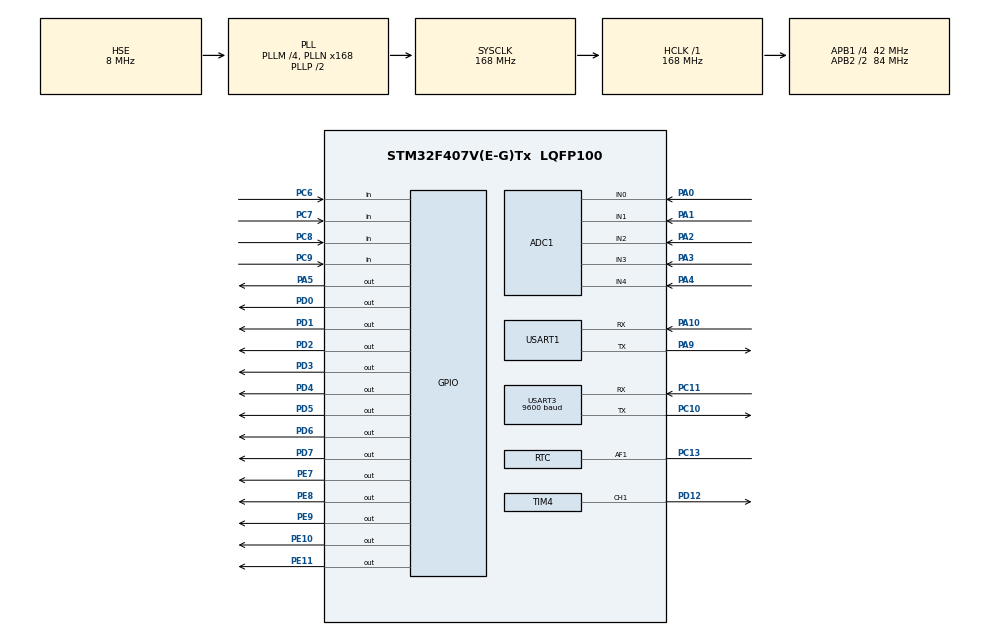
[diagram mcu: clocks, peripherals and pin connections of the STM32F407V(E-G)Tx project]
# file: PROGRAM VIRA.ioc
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ADC1.Channel-0\#ChannelRegularConversion=ADC_CHANNEL_0
ADC1.Channel-1\#ChannelRegularConversion=ADC_CHANNEL_1
ADC1.Channel-2\#ChannelRegularConversion=ADC_CHANNEL_2
ADC1.Channel-3\#ChannelRegularConversion=ADC_CHANNEL_3
ADC1.Channel-4\#ChannelRegularConversion=ADC_CHANNEL_4
ADC1.ContinuousConvMode=ENABLE
ADC1.DMAContinuousRequests=ENABLE
ADC1.NbrOfConversion=5
ADC1.NbrOfConversionFlag=1
ADC1.Rank-0\#ChannelRegularConversion=1
ADC1.Rank-1\#ChannelRegularConversion=2
ADC1.Rank-2\#ChannelRegularConversion=3
ADC1.Rank-3\#ChannelRegularConversion=4
ADC1.Rank-4\#ChannelRegularConversion=5
ADC1.SamplingTime-0\#ChannelRegularConversion=ADC_SAMPLETIME_3CYCLES
ADC1.SamplingTime-1\#ChannelRegularConversion=ADC_SAMPLETIME_3CYCLES
ADC1.SamplingTime-2\#ChannelRegularConversion=ADC_SAMPLETIME_3CYCLES
ADC1.SamplingTime-3\#ChannelRegularConversion=ADC_SAMPLETIME_3CYCLES
ADC1.SamplingTime-4\#ChannelRegularConversion=ADC_SAMPLETIME_3CYCLES
ADC1.ScanConvMode=ENABLE
ADC1.master=1
Dma.ADC1.0.Direction=DMA_PERIPH_TO_MEMORY
Dma.ADC1.0.FIFOMode=DMA_FIFOMODE_ENABLE
Dma.ADC1.0.FIFOThreshold=DMA_FIFO_THRESHOLD_HALFFULL
Dma.ADC1.0.Instance=DMA2_Stream0
Dma.ADC1.0.MemBurst=DMA_MBURST_SINGLE
Dma.ADC1.0.MemDataAlignment=DMA_MDATAALIGN_HALFWORD
Dma.ADC1.0.MemInc=DMA_MINC_ENABLE
Dma.ADC1.0.Mode=DMA_CIRCULAR
Dma.ADC1.0.PeriphBurst=DMA_PBURST_SINGLE
Dma.ADC1.0.PeriphDataAlignment=DMA_PDATAALIGN_HALFWORD
Dma.ADC1.0.PeriphInc=DMA_PINC_DISABLE
Dma.ADC1.0.Priority=DMA_PRIORITY_LOW
Dma.Request0=ADC1
Mcu.Family=STM32F4
Mcu.Name=STM32F407V(E-G)Tx
Mcu.Package=LQFP100
NVIC.DMA2_Stream0_IRQn=true\:0\:0\:false\:false\:true\:true\:true
NVIC.PriorityGroup=NVIC_PRIORITYGROUP_4
NVIC.TIM1_BRK_TIM9_IRQn=true\:0\:0\:false\:false\:true\:true\:true
NVIC.TIM8_TRG_COM_TIM14_IRQn=true\:0\:0\:false\:false\:true\:true\:true
NVIC.TIM8_UP_TIM13_IRQn=true\:0\:0\:false\:false\:true\:true\:true
NVIC.USART3_IRQn=true\:0\:0\:false\:false\:true\:true\:true
PA0-WKUP.Signal=ADCx_IN0
PA1.Signal=ADCx_IN1
PA10.Mode=Asynchronous
PA10.Signal=USART1_RX
PA2.Signal=ADCx_IN2
PA3.Signal=ADCx_IN3
PA4.Signal=ADCx_IN4
PA5.Signal=GPIO_Output
PA9.GPIO_Speed=GPIO_SPEED_FREQ_HIGH
PA9.Mode=Asynchronous
PA9.Signal=USART1_TX
PC10.GPIO_Speed=GPIO_SPEED_FREQ_HIGH
PC10.Mode=Asynchronous
PC10.Signal=USART3_TX
PC11.GPIO_Speed=GPIO_SPEED_FREQ_HIGH
PC11.Mode=Asynchronous
PC11.Signal=USART3_RX
PC13-ANTI_TAMP.Mode=Calibration_1Hz
PC13-ANTI_TAMP.Signal=RTC_AF1
PC6.Signal=GPIO_Input
PC7.Signal=GPIO_Input
PC8.Signal=GPIO_Input
PC9.Signal=GPIO_Input
PD0.Signal=GPIO_Output
PD1.Signal=GPIO_Output
PD12.GPIO_Speed=GPIO_SPEED_FREQ_VERY_HIGH
PD12.Signal=S_TIM4_CH1
PD2.Signal=GPIO_Output
PD3.Signal=GPIO_Output
PD4.Signal=GPIO_Output
PD5.Signal=GPIO_Output
PD6.Signal=GPIO_Output
PD7.Signal=GPIO_Output
PE10.Signal=GPIO_Output
PE11.Signal=GPIO_Output
PE7.Signal=GPIO_Output
PE8.Signal=GPIO_Output
PE9.Signal=GPIO_Output
PH0-OSC_IN.Mode=HSE-External-Oscillator
PH0-OSC_IN.Signal=RCC_OSC_IN
PH1-OSC_OUT.Mode=HSE-External-Oscillator
PH1-OSC_OUT.Signal=RCC_OSC_OUT
ProjectManager.HeapSize=0x200
ProjectManager.StackSize=0x400
ProjectManager.TargetToolchain=MDK-ARM V5
RCC.48MHZClocksFreq_Value=84000000
RCC.AHBFreq_Value=168000000
RCC.APB1CLKDivider=RCC_HCLK_DIV4
RCC.APB1Freq_Value=42000000
RCC.APB1TimFreq_Value=84000000
RCC.APB2CLKDivider=RCC_HCLK_DIV2
RCC.APB2Freq_Value=84000000
RCC.APB2TimFreq_Value=168000000
RCC.CortexFreq_Value=168000000
RCC.HCLKFreq_Value=168000000
RCC.HSE_VALUE=8000000
RCC.HSI_VALUE=16000000
RCC.LSE_VALUE=32768
RCC.PLLM=4
RCC.PLLN=168
RCC.PLLSourceVirtual=RCC_PLLSOURCE_HSE
RCC.SYSCLKFreq_VALUE=168000000
RCC.SYSCLKSource=RCC_SYSCLKSOURCE_PLLCLK
RCC.VCOOutputFreq_Value=336000000
SH.ADCx_IN0.0=ADC1_IN0,IN0
SH.ADCx_IN1.0=ADC1_IN1,IN1
SH.ADCx_IN2.0=ADC1_IN2,IN2
SH.ADCx_IN3.0=ADC1_IN3,IN3
SH.ADCx_IN4.0=ADC1_IN4,IN4
SH.S_TIM4_CH1.0=TIM4_CH1,PWM Generation1 CH1
TIM13.Channel=TIM_CHANNEL_1
TIM13.Period=2099
TIM14.Channel=TIM_CHANNEL_1
TIM14.Period=16801
TIM4.Channel-PWM\ Generation1\ CH1=TIM_CHANNEL_1
TIM4.Period=2099
TIM4.Prescaler=0
TIM4.Pulse-PWM\ Generation1\ CH1=5000
TIM9.Period=16799
TIM9.Prescaler=4999
USART1.VirtualMode=VM_ASYNC
USART3.BaudRate=9600
USART3.VirtualMode=VM_ASYNC
USART3.WordLength=WORDLENGTH_8B
VP_RTC_VS_RTC_Activate.Mode=RTC_Enabled
VP_TIM13_VS_ClockSourceINT.Mode=Enable_Timer
VP_TIM13_VS_no_output1.Mode=PWM Generation1 No Output
VP_TIM14_VS_ClockSourceINT.Mode=Enable_Timer
VP_TIM14_VS_no_output1.Mode=PWM Generation1 No Output
VP_TIM9_VS_ClockSourceINT.Mode=Internal
board=TUGAS AKHIR MOHAMMAD AGUNG DIRMAWAN

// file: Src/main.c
/* USER CODE BEGIN Header */
/**
  ******************************************************************************
  * @file           : main.c
  * @brief          : Main program body
  ******************************************************************************
  * @attention
  *
  * <h2><center>&copy; Copyright (c) 2020 STMicroelectronics.
  * All rights reserved.</center></h2>
  *
  * This software component is licensed by ST under BSD 3-Clause license,
  * the "License"; You may not use this file except in compliance with the
  * License. You may obtain a copy of the License at:
  *                        opensource.org/licenses/BSD-3-Clause
  *
  ******************************************************************************
  */
/* USER CODE END Header */
#include "main.h"

/* USER CODE BEGIN Includes */
#include "string.h"   																													// 1 logger via bluetooth (cek 1-7)
#include "lcd_character.h"
#include "math.h"
#include "stdlib.h"
#include "stdio.h"
#define SampleData 1000
/* USER CODE END Includes */

ADC_HandleTypeDef hadc1;
DMA_HandleTypeDef hdma_adc1;

RTC_HandleTypeDef hrtc;

TIM_HandleTypeDef htim4;
TIM_HandleTypeDef htim9;
TIM_HandleTypeDef htim13;
TIM_HandleTypeDef htim14;

UART_HandleTypeDef huart1;
UART_HandleTypeDef huart3;

/* USER CODE BEGIN PV */

 /*Inisialisasi jumlah ADC*/
__IO uint16_t ADC_value[5];

/*Inisialisasi PWM*/
float pwm =2099,pwm1; //735;945;1155duty trying before 50%duty 1050 (max psc 2099) how? psc x duty%
//float pwm =1155,pwm1; //945 1155
float D;
char bufferD[200];
char buffer_defuzzy[200];

// int tes=10;
float A0, Esq0[SampleData], Esum0, Eadc0;
float A1, Vsq1[SampleData], Vsum1, Vadc1;
float A2, Isq2[SampleData], Isum2, Iadc2;
float A3, Vsq3[SampleData], Vsum3, Vadc3;
float A4, Isq4[SampleData], Isum4, Iadc4;
float E0, V1, I2, V3, I4, Epv, Vin, Iin, Vout, Iout, Pin, Pout, Vi, Ii, Vo, Io;

int 	k=0, Z=0,i=0;
int		recordE0, recordV1, recordI2, recordV3, recordI4;
char	buffer_ADC_E0[200];
char  buffer_ADC_V1[200];
char  buffer_ADC_I2[200];
char  buffer_ADC_V3[200];
char  buffer_ADC_I4[200];
char	buffer_Epv[200];
char  buffer_Vin[200];
char  buffer_Iin[200];
char  buffer_Vout[200];
char  buffer_Iout[200];
char  buffer_Pin[200];
char  buffer_Pout[200];

//Deklarasi MPPT Fuzzy 2//
float eNBU,eNKU,eZU,ePKU,ePBU ; //Deklarasi nilai error UPPER fuzzy
float eNBL,eNKL,eZL,ePKL,ePBL ; //Deklarasi nilai error LOWER fuzzy
float dNBU,dNKU,dZU,dPKU,dPBU; // Deklarasi nilai delta error UPPER fuzzy
float dNBL,dNKL,dZL,dPKL,dPBL; // Deklarasi nilai delta error LOWER fuzzy
float oNB = (-0.005), oNK = (-0.0025) , oZ = (0) , oPK = (0.0025) , oPB = (0.005); //fuzzyfikasi output fuzzy sugeno
float a=-200, b=-100, c=0, d=100, e=200;
float f=-200, g=-100, hh=0, ii=100, j=200;
float rule1U, rule2U, rule3U,rule4U, rule1L, rule2L, rule3L,rule4L;
float red1U, red2U, red1L, red2L;
float redtipe1, redtipe2;
float r1U,r2U,r3U,r4U,r5U,r6U,r7U,r8U,r9U,r10U,r11U,r12U,r13U,r14U,r15U, r16U, r17U, r18U, r19U, r20U, r21U, r22U, r23U, r24U, r25U; //Inferensi
float r1L,r2L,r3L,r4L,r5L,r6L,r7L,r8L,r9L,r10L,r11L,r12L,r13L,r14L,r15L, r16L, r17L, r18L, r19L, r20L, r21L, r22L, r23L, r24L, r25L;
float r1,r2,r3,r4,r5,r6,r7,r8,r9,r10,r11,r12,r13,r14,r15, r16, r17, r18, r19, r20, r21, r22, r23, r24, r25;
float esblm=0, defuzzy, e, d;
float vin, iin, vin2, iin2, vout, iout, step, Duty, vv, ii, pp, vs, is, ps, pv, pout,sp;
int t=0, s=2;
double error, derror;
float hasil, dppp, dvvv;
static int status=0,MPP;

/* USER CODE END PV */

void SystemClock_Config(void);
static void MX_GPIO_Init(void);
static void MX_DMA_Init(void);
static void MX_ADC1_Init(void);
static void MX_TIM4_Init(void);
static void MX_TIM9_Init(void);
static void MX_TIM13_Init(void);
static void MX_TIM14_Init(void);
static void MX_USART3_UART_Init(void);
static void MX_RTC_Init(void);
static void MX_USART1_UART_Init(void);
/* USER CODE BEGIN PFP */

//SENSOR//
void HAL_TIM_PeriodElapsedCallback(TIM_HandleTypeDef *htim)
{

	if (htim->Instance==TIM14)
	   {
				HAL_ADC_Start_DMA(&hadc1, (uint32_t*) &ADC_value,5);
			  //Sensor Tegangan Input
				Vadc1= ADC_value[4];
				Vsum1-=Vsq1[k];
				Vsq1[k]=Vadc1;
				Vsum1+=Vsq1[k];
				A1=Vsum1/SampleData;
//				V1=A1/4095*5;                                         	 /*Rumus untuk mendapatkan Vadc*/
				Vin = (0.0042*A1) - 0.21;

			 //Sensor Tegangan Output//
				Vadc3= ADC_value[0];
				Vsum3-=Vsq3[k];
				Vsq3[k]=Vadc3;
				Vsum3+=Vsq3[k];
				A3=Vsum3/SampleData;
//			V3=A3/4095*5;                                         		 /*Rumus untuk mendapatkan Vadc*/
				Vout = (0.0036*A3) - 0.1692;

				//Sensor Arus Input
				Iadc4= ADC_value[2];
				Isum4-=Isq4[k];
				Isq4[k]=Iadc4;
				Isum4+=Isq4[k];
				A4=Isum4/SampleData;
//				I4=A4/4095*5;																			    /*Rumus untuk mendapatkan Iadc*/
				Iin = (0.0125*A4) - 25.39;

			 	//Sensor Arus Output
				Iadc2= ADC_value[3];
				Isum2-=Isq2[k];
				Isq2[k]=Iadc2;
				Isum2+=Isq2[k];
				A2=Isum2/SampleData;
//			I1=A2/4095*5;																			    /*Rumus untuk mendapatkan Iadc*/
				Iout = (0.0152*A2 - 30.6);													  /*Rumus untuk mendapatkan Iout*/

			//Menghitung Nilai Daya
//				Pin = Vin*Iin;					/*Rumus Daya Input*/
//				Pout = Vout*Iout;				/*Rumus Daya Output*/

				k++;
				if(k>=SampleData)
				k=0;

				//SENSOR TEGANGAN INPUT ==> Mikro ADC_Value[4] PIN PA4 PCB ADC0
				//SENSOR ARUS INPUT ==> Mikro ADC_Value[2] PIN PA2 PCB ADC2
				//SENSOR TEGANGAN OUTPUT ==> Mikro ADC_Value[0] PIN PA4 PCB ADC0
				//SENSOR ARUS OUTPUT ==> Mikro ADC_Value[3] PIN PA2 PCB ADC2

	  }

			//------------------MPPT FLC TYPE 2 BY SHAVIRA AISYAH------------------//

	if (htim->Instance==TIM9)
	{
		status = ~status;
		MPP = status;
		if(MPP == 0) // saat ini
		{
			is = Iin;
			vs = Vin;
			ps = is * vs;
		}
		else if(MPP == -1) //sebelumnya
		{
			ii = Iin;
			vv = Vin;
			pp = ii * vv;
		}

		dppp = ps - pp;
		dvvv = vs - vv;
		pout = Vout * Iout;

		ps = pp;
		vs=vv;

		error = dppp/dvvv;
		derror = error - esblm;
		esblm = error;

					//------------------FUZZIFIKASI ERROR------------------//
	if(ps<200)
	{
		if (error<=a)
	{
		eNBU=1;
		eNKU=eZU=ePKU=ePBU=0;
	}
	else if (error>=a && error<=b)
	{
		eNBU=(b-error)/(b-a);
		eNKU=(error-a)/(b-a);
		eZU=ePKU=ePBU=0;
	}
	else if (error>=b && error<=c)
	{
		eNKU=(c-error)/(c-b);
		eZU=(error-b)/(c-b);
		eNBU=ePKU=ePBU=0;
	}
	else if (error>=c && error<=d)
	{
		eZU=(d-error)/(d-c);
		ePKU=(error-c)/(d-c);
		eNBU=eNKU=ePBU=0;
	}
	else if (error>=d && error<=e)
	{
		ePKU=(e-error)/(e-d);
		ePBU=(error-d)/(e-d);
		eNBU=eNKU=eZU=0;
	}
		else if (error>=e)
	{
		ePBU=1;
		eNBU=eNKU=eZU=ePKU=0;
	}

						//------------------FUZZIFIKASI DELTA ERROR------------------//
	if (derror<=f)
	{
		dNBU=1;
		dNKU=dZU=dPKU=dPBU=0;
	}
	else if (derror>=f && derror<=g)
	{
		dNBU=(g-derror)/(g-f);
		dNKU=(derror-f)/(g-f);
		dZU=dPKU=dPBU=0;
	}
	else if (derror>=g && derror<=hh)
	{
		dNKU=(hh-derror)/(hh-g);
		dZU=(derror-g)/(hh-g);
		dPKU=dNBU=dPBU=0;
	}
	else if (derror>=hh && derror<=i)
	{
		dZU=(ii-derror)/(ii-hh);
		dPKU=(derror-hh)/(ii-hh);
		dNBU=dNKU=dPBU=0;
	}
	else if (derror>=i && derror<=j)
	{
		dPKU=(j-derror)/(j-ii);
		dPBU=(derror-ii)/(j-ii);
		dNBU=dNKU=dZU=0;
	}
	else if (derror>=j)
	{
		dPBU=1;
		dPKU=dZU=dNKU=dNBU=0;
	}

					//------------------FUZZIFIKASI ERROR------------------//
	if(ps<200)
	{
		if (error<=a)
	{
		eNBU=1;
		eNKU=eZU=ePKU=ePBU=0;
	}
	else if (error>=a && error<=b)
	{
		eNBU=(b-error)/(b-a);
		eNKU=(error-a)/(b-a);
		eZU=ePKU=ePBU=0;
	}
	else if (error>=b && error<=c)
	{
		eNKU=(c-error)/(c-b);
		eZU=(error-b)/(c-b);
		eNBU=ePKU=ePBU=0;
	}
	else if (error>=c && error<=d)
	{
		eZU=(d-error)/(d-c);
		ePKU=(error-c)/(d-c);
		eNBU=eNKU=ePBU=0;
	}
	else if (error>=d && error<=e)
	{
		ePKU=(e-error)/(e-d);
		ePBU=(error-d)/(e-d);
		eNBU=eNKU=eZU=0;
	}
		else if (error>=e)
	{
		ePBU=1;
		eNBU=eNKU=eZU=ePKU=0;
	}
		if (error<=a)
	{
		eNBL=1;
		eNKL=eZL=ePKL=ePBL=0;
	}
	else if (error>=a && error<=b)
	{
		eNBL=(b-error)/(b-a);
		eNKL=(error-a)/(b-a);
		eZL=ePKL=ePBL=0;
	}
	else if (error>=b && error<=c)
	{
		eNKL=(c-error)/(c-b);
		eZL=(error-b)/(c-b);
		eNBL=ePKL=ePBL=0;
	}
	else if (error>=c && error<=d)
	{
		eZL=(d-error)/(d-c);
		ePKL=(error-c)/(d-c);
		eNBL=eNKL=ePBL=0;
	}
	else if (error>=d && error<=e)
	{
		ePKL=(e-error)/(e-d);
		ePBL=(error-d)/(e-d);
		eNBL=eNKL=eZL=0;
	}
		else if (error>=e)
	{
		ePBL=1;
		eNBL=eNKL=eZL=ePKL=0;
	}

						//------------------FUZZIFIKASI DELTA ERROR------------------//
	if (derror<=f)
	{
		dNBL=1;
		dNKL=dZL=dPKL=dPBL=0;
	}
	else if (derror>=f && derror<=g)
	{
		dNBL=(g-derror)/(g-f);
		dNKL=(derror-f)/(g-f);
		dZL=dPKL=dPBL=0;
	}
	else if (derror>=g && derror<=hh)
	{
		dNKL=(hh-derror)/(hh-g);
		dZL=(derror-g)/(hh-g);
		dPKL=dNBL=dPBL=0;
	}
	else if (derror>=hh && derror<=i)
	{
		dZL=(ii-derror)/(ii-hh);
		dPKL=(derror-hh)/(ii-hh);
		dNBL=dNKL=dPBL=0;
	}
	else if (derror>=i && derror<=j)
	{
		dPKL=(j-derror)/(j-ii);
		dPBL=(derror-ii)/(j-ii);
		dNBL=dNKL=dZL=0;
	}
	else if (derror>=j)
	{
		dPBL=1;
		dPKL=dZL=dNKL=dNBL=0;
	}
	if (derror<=f)
	{
		dNBL=1;
		dNKL=dZL=dPKL=dPBL=0;
	}
	else if (derror>=f && derror<=g)
	{
		dNBL=(g-derror)/(g-f);
		dNKL=(derror-f)/(g-f);
		dZL=dPKL=dPBL=0;
	}
	else if (derror>=g && derror<=hh)
	{
		dNKL=(hh-derror)/(hh-g);
		dZL=(derror-g)/(hh-g);
		dPKL=dNBL=dPBL=0;
	}
	else if (derror>=hh && derror<=i)
	{
		dZL=(ii-derror)/(ii-hh);
		dPKL=(derror-hh)/(ii-hh);
		dNBL=dNKL=dPBL=0;
	}
	else if (derror>=i && derror<=j)
	{
		dPKL=(j-derror)/(j-ii);
		dPBL=(derror-ii)/(j-ii);
		dNBL=dNKL=dZL=0;
	}
	else if (derror>=j)
	{
		dPBL=1;
		dPKL=dZL=dNKL=dNBL=0;
	}

				//------------------FUZZY INFERENCE------------------//

		//UPPER//
r1U=dPBU;	if (eNBU>dPBU)r1U=eNBU;
r2U=dNBU;	if (eNKU>dPBU)r2U=eNKU;
r3U=dPBU;	if (eZU>dPBU)r3U=eZU;
r4U=dPBU;	if (ePKU>dPBU)r4U=ePKU;
r5U=dPBU;	if (ePBU>dPBU)r5U=ePBU;

r6U=dPKU;	if (eNBU>dPKU)r6U=eNBU;
r7U=dPKU;	if (eNKU>dPKU)r7U=eNKU;
r8U=dPKU;	if (eZU>dPKU)r8U=eZU;
r9U=dPKU;	if (ePKU>dPKU)r9U=ePKU;
r10U=dPKU; if (ePBU>dPKU)r10U=ePBU;

r11U=dZU;	if (eNBU>dZU)r11U=eNBU;
r12U=dZU;	if (eNKU>dZU)r12U=eNKU;
r13U=dZU;	if (eZU>dZU)r13U=eZU;
r14U=dZU;	if (ePKU>dZU)r14U=ePKU;
r15U=dZU;	if (ePBU>dZU)r15U=ePBU;

r16U=dNKU;	if (eNBU>dNKU)r16U=eNBU;
r17U=dNKU;	if (eNKU>dNKU)r17U=eNKU;
r18U=dNKU;	if (eZU>dNKU)r18U=eZU;
r19U=dNKU;	if (ePKU>dNKU)r19U=ePKU;
r20U=dNKU;	if (ePBU>dNKU)r20U=ePBU;

r21U=dNBU;	if (eNBU>dNBU)r21U=eNBU;
r22U=dNBU;	if (eNKU>dNBU)r22U=eNKU;
r23U=dNBU;	if (eZU>dNBU)r23U=eZU;
r24U=dNBU;	if (ePKU>dNBU)r24U=ePKU;
r25U=dNBU;	if (ePBU>dNBU)r25U=ePBU;

	//LOWER//
r1L=dPBL;	if (eNBL>dPBL)r1L=eNBL;
r2L=dNBL;	if (eNKL>dPBL)r2L=eNKL;
r3L=dPBL;	if (eZL>dPBL)r3L=eZL;
r4L=dPBL;	if (ePKL>dPBL)r4L=ePKL;
r5L=dPBL;	if (ePBL>dPBL)r5L=ePBL;

r6L=dPKL;	if (eNBL>dPKL)r6L=eNBL;
r7L=dPKL;	if (eNKL>dPKL)r7L=eNKL;
r8L=dPKL;	if (eZL>dPKL)r8L=eZL;
r9L=dPKL;	if (ePKL>dPKL)r9L=ePKL;
r10L=dPKL; if (ePBL>dPKL)r10L=ePBL;

r11L=dZL;	if (eNBL>dZL)r11L=eNBL;
r12L=dZL;	if (eNKL>dZL)r12L=eNKL;
r13L=dZL;	if (eZL>dZL)r13L=eZL;
r14L=dZL;	if (ePKL>dZL)r14L=ePKL;
r15L=dZL;	if (ePBL>dZL)r15L=ePBL;

r16L=dNKL;	if (eNBL>dNKL)r16L=eNBL;
r17L=dNKL;	if (eNKL>dNKL)r17L=eNKL;
r18L=dNKL;	if (eZL>dNKL)r18L=eZL;
r19L=dNKL;	if (ePKL>dNKL)r19L=ePKL;
r20L=dNKL;	if (ePBL>dNKL)r20L=ePBL;

r21L=dNBL;	if (eNBL>dNBL)r21L=eNBL;
r22L=dNBL;	if (eNKL>dNBL)r22L=eNKL;
r23L=dNBL;	if (eZL>dNBL)r23L=eZL;
r24L=dNBL;	if (ePKL>dNBL)r24L=ePKL;
r25L=dNBL;	if (ePBL>dNBL)r25L=ePBL;

//------------------TIPE PEREDUKSI------------------//
r1 = (r1U + r1L)/2;
r2 = (r2U + r2L)/2;
r3 = (r3U + r3L)/2;
r4 = (r4U + r4L)/2;
r5 = (r5U + r5L)/2;
r6 = (r6U + r6L)/2;
r7 = (r7U + r7L)/2;
r8 = (r8U + r8L)/2;
r9 = (r9U + r9L)/2;
r10 = (r10U + r10L)/2;
r11 = (r11U + r11L)/2;
r12 = (r12U + r12L)/2;
r13 = (r13U + r13L)/2;
r14 = (r14U + r14L)/2;
r15 = (r15U + r15L)/2;
r16 = (r16U + r16L)/2;
r17 = (r17U + r17L)/2;
r18 = (r18U + r18L)/2;
r19 = (r19U + r19L)/2;
r20 = (r20U + r20L)/2;
r21 = (r21U + r21L)/2;
r22 = (r22U + r22L)/2;
r23 = (r23U + r23L)/2;
r24 = (r24U + r24L)/2;
r25 = (r25U + r25L)/2;

			//------------------DEFUZZYFIKASI------------------//
hasil=((r1*oPB)+(r2*oPK)+(r3*oNK)+(r4*oZ)+(r5*oZ)+(r6*oPB)+(r7*oPK)+(r8*oZ)+(r9*oZ)+(r10*oZ)+(r11*oPB)+(r12*oPK)+(r13*oZ)+(r14*oNK)+(r15*oNK)+(r16*oZ)+(r17*oZ)+(r18*oZ)+(r19*oNK)+(r20*oNK)+(r21*oZ)+(r22*oZ)+(r23*oPK)+(r24*oNK)+(r25*oNB))/(r1+r2+r3+r4+r5+r6+r7+r8+r9+r10+r11+r12+r13+r14+r15+r16+r17+r18+r19+r20+r21+r22+r23+r24+r25);

	if(dppp == 0)
	{
		hasil = hasil;
	}

defuzzy = defuzzy + hasil;

hasil=((r1*oZ)+(r2*oZ)+(r3*oZ)+(r4*oZ)+(r5*oZ)+(r6*oZ)+(r7*oZ)+(r8*oZ)+(r9*oZ)+(r10*oZ)+(r11*oZ)+(r12*oZ)+(r13*oZ)+(r14*oZ)+(r15*oZ)+(r16*oZ)+(r17*oZ)+(r18*oZ)+(r19*oZ)+(r20*oZ)+(r21*oZ)+(r22*oZ)+(r23*oZ)+(r24*oZ)+(r25*oZ))/(r1+r2+r3+r4+r5+r6+r7+r8+r9+r10+r11+r12+r13+r14+r15+r16+r17+r18+r19+r20+r21+r22+r23+r24+r25);
defuzzy = defuzzy + hasil;

pwm = 945 + (defuzzy); //945
D = pwm *100/2100;
TIM4->CCR1 = pwm;

		pp = ps;
		vv = vs;

}

		if (D>60)
		{
		D=60;
		}
		if (D<0)
		{
		D=0;
		}

	}
	}

	}
/* USER CODE END PFP */

/* USER CODE BEGIN 0 */
__IO uint16_t Nilai_ADC[5];
float pwm1;
/* USER CODE END 0 */

int main(void)
{

  /* MCU Configuration--------------------------------------------------------*/

  /* Reset of all peripherals, Initializes the Flash interface and the Systick. */
  HAL_Init();

  /* Configure the system clock */
  SystemClock_Config();

  /* Initialize all configured peripherals */
  MX_GPIO_Init();
  MX_DMA_Init();
  MX_ADC1_Init();
  MX_TIM4_Init();
  MX_TIM9_Init();
  MX_TIM13_Init();
  MX_TIM14_Init();
  MX_USART3_UART_Init();
  MX_RTC_Init();
  MX_USART1_UART_Init();
  /* USER CODE BEGIN 2 */
  HAL_ADC_Start_DMA(&hadc1, (uint32_t*) &ADC_value,5);
	HAL_TIM_Base_Start_IT(&htim14); 																									// interrupt ADC
	HAL_TIM_Base_Start_IT(&htim13);  																									// interrupt PWM
	HAL_TIM_Base_Start_IT(&htim9);
	HAL_TIM_PWM_Start(&htim4,TIM_CHANNEL_1);

//TAMPILAN AWAL//
	TIM4->CCR1 = 0;
	lcd_init();

	lcd_gotoxy(0,0);
	lcd_puts("    MPPT - FUZZY2   ");
	lcd_gotoxy(1,1);
	lcd_puts(" SHAVIRA AISYAH ");
	lcd_gotoxy(5,2);
	lcd_puts("2320640021");
	HAL_Delay(3000);
	lcd_clear();

//	lcd_gotoxy(0,2);
//	lcd_puts ("adcV:     ");

//	lcd_gotoxy(10,2);
//	lcd_puts ("adcI:");

	lcd_gotoxy(0,1);
	lcd_puts ("Vin:    ");

	lcd_gotoxy(0,2);
	lcd_puts ("Vo :    ");

	lcd_gotoxy(10,1);
	lcd_puts ("Iin:     ");

	lcd_gotoxy(10,2);
	lcd_puts ("Io :     ");

	lcd_gotoxy(0,0);
	lcd_puts ("PWM :     ");

	lcd_gotoxy(0,3);
	lcd_puts ("Pin:     ");

	lcd_gotoxy(10,3);
	lcd_puts ("Po :     ");

  /* USER CODE END 2 */

  /* Infinite loop */
  while (1)
  {

    /* USER CODE BEGIN 3 */
			HAL_Delay(100);

		//Menampilkan PWM //
//	TIM4->CCR1 = pwm;
//	D = pwm/2099*100;
	lcd_gotoxy(5,0);
	sprintf(bufferD,"%2.2f",D);
//	lcd_puts(bufferD);

		//Menampilkan adcV dan adcI //
//	HAL_Delay(200);
//	lcd_gotoxy(5,2);
//	sprintf(buffer_ADC_V1,"%4.0f",A1);
//	lcd_puts(buffer_ADC_V1);
//	HAL_Delay(50);

//	HAL_Delay(200); 		//NEW
//	lcd_gotoxy(5,2);
//	sprintf(buffer_ADC_V3,"%4.0f",A3);
//	lcd_puts(buffer_ADC_V3);
//	HAL_Delay(50);

//	lcd_gotoxy(15,2);		//NEW
//	sprintf(buffer_ADC_I4,"%4.0f",A4);
//	lcd_puts(buffer_ADC_I4);
//	HAL_Delay(50);

//	lcd_gotoxy(15,2);
//	sprintf(buffer_ADC_I1,"%4.0f",A2);
//	lcd_puts(buffer_ADC_I1);
//	HAL_Delay(50);

		//Menampilkan Vin dan Iin //
	lcd_gotoxy(5,1);
	sprintf(buffer_Vin,"%2.2f",Vin);
	lcd_puts(buffer_Vin);

	HAL_Delay(100);
	lcd_gotoxy(14,1);
	sprintf(buffer_Iin,"%2.1f",Iin);
	lcd_puts(buffer_Iin);
	HAL_Delay(50);

		//Menampilkan Vout dan Iout //
	lcd_gotoxy(5,2);
	sprintf(buffer_Vout,"%2.2f",Vout);
	lcd_puts(buffer_Vout);

	HAL_Delay(100);
	lcd_gotoxy(14,2);
	sprintf(buffer_Iout,"%2.1f",Iout);
	lcd_puts(buffer_Iout);
	HAL_Delay(50);

	////		//Menampilkan Pin dan Pout //

	//Menghitung Nilai Daya
	Pin = Vin*Iin;					/*Rumus Daya Input*/
	Pout = Vout*Iout;				/*Rumus Daya Output*/
	lcd_gotoxy(5,3);
	sprintf(buffer_Pin,"%3.1f",Pin);
	lcd_puts(buffer_Pin);
	HAL_Delay(100);

	lcd_gotoxy(13,3);
	sprintf(buffer_Pout,"%3.1f",Pout);
	lcd_puts(buffer_Pout);
	HAL_Delay(100);

  }
  /* USER CODE END 3 */
}
//------------------------------------------------------------------------------------------------------------------------------------------------------//

void SystemClock_Config(void)
{
  RCC_OscInitTypeDef RCC_OscInitStruct = {0};
  RCC_ClkInitTypeDef RCC_ClkInitStruct = {0};
  RCC_PeriphCLKInitTypeDef PeriphClkInitStruct = {0};

  /** Configure the main internal regulator output voltage
  */
  __HAL_RCC_PWR_CLK_ENABLE();
  __HAL_PWR_VOLTAGESCALING_CONFIG(PWR_REGULATOR_VOLTAGE_SCALE1);
  /** Initializes the RCC Oscillators according to the specified parameters
  * in the RCC_OscInitTypeDef structure.
  */
  RCC_OscInitStruct.OscillatorType = RCC_OSCILLATORTYPE_LSI|RCC_OSCILLATORTYPE_HSE;
  RCC_OscInitStruct.HSEState = RCC_HSE_ON;
  RCC_OscInitStruct.LSIState = RCC_LSI_ON;
  RCC_OscInitStruct.PLL.PLLState = RCC_PLL_ON;
  RCC_OscInitStruct.PLL.PLLSource = RCC_PLLSOURCE_HSE;
  RCC_OscInitStruct.PLL.PLLM = 4;
  RCC_OscInitStruct.PLL.PLLN = 168;
  RCC_OscInitStruct.PLL.PLLP = RCC_PLLP_DIV2;
  RCC_OscInitStruct.PLL.PLLQ = 4;
  if (HAL_RCC_OscConfig(&RCC_OscInitStruct) != HAL_OK)
  {
    Error_Handler();
  }
  /** Initializes the CPU, AHB and APB buses clocks
  */
  RCC_ClkInitStruct.ClockType = RCC_CLOCKTYPE_HCLK|RCC_CLOCKTYPE_SYSCLK
                              |RCC_CLOCKTYPE_PCLK1|RCC_CLOCKTYPE_PCLK2;
  RCC_ClkInitStruct.SYSCLKSource = RCC_SYSCLKSOURCE_PLLCLK;
  RCC_ClkInitStruct.AHBCLKDivider = RCC_SYSCLK_DIV1;
  RCC_ClkInitStruct.APB1CLKDivider = RCC_HCLK_DIV4;
  RCC_ClkInitStruct.APB2CLKDivider = RCC_HCLK_DIV2;

  if (HAL_RCC_ClockConfig(&RCC_ClkInitStruct, FLASH_LATENCY_5) != HAL_OK)
  {
    Error_Handler();
  }
  PeriphClkInitStruct.PeriphClockSelection = RCC_PERIPHCLK_RTC;
  PeriphClkInitStruct.RTCClockSelection = RCC_RTCCLKSOURCE_LSI;
  if (HAL_RCCEx_PeriphCLKConfig(&PeriphClkInitStruct) != HAL_OK)
  {
    Error_Handler();
  }
}

static void MX_ADC1_Init(void)
{

  ADC_ChannelConfTypeDef sConfig = {0};

  /** Configure the global features of the ADC (Clock, Resolution, Data Alignment and number of conversion)
  */
  hadc1.Instance = ADC1;
  hadc1.Init.ClockPrescaler = ADC_CLOCK_SYNC_PCLK_DIV4;
  hadc1.Init.Resolution = ADC_RESOLUTION_12B;
  hadc1.Init.ScanConvMode = ENABLE;
  hadc1.Init.ContinuousConvMode = ENABLE;
  hadc1.Init.DiscontinuousConvMode = DISABLE;
  hadc1.Init.ExternalTrigConvEdge = ADC_EXTERNALTRIGCONVEDGE_NONE;
  hadc1.Init.ExternalTrigConv = ADC_SOFTWARE_START;
  hadc1.Init.DataAlign = ADC_DATAALIGN_RIGHT;
  hadc1.Init.NbrOfConversion = 5;
  hadc1.Init.DMAContinuousRequests = ENABLE;
  hadc1.Init.EOCSelection = ADC_EOC_SINGLE_CONV;
  if (HAL_ADC_Init(&hadc1) != HAL_OK)
  {
    Error_Handler();
  }
  /** Configure for the selected ADC regular channel its corresponding rank in the sequencer and its sample time.
  */
  sConfig.Channel = ADC_CHANNEL_0;
  sConfig.Rank = 1;
  sConfig.SamplingTime = ADC_SAMPLETIME_3CYCLES;
  if (HAL_ADC_ConfigChannel(&hadc1, &sConfig) != HAL_OK)
  {
    Error_Handler();
  }
  /** Configure for the selected ADC regular channel its corresponding rank in the sequencer and its sample time.
  */
  sConfig.Channel = ADC_CHANNEL_1;
  sConfig.Rank = 2;
  if (HAL_ADC_ConfigChannel(&hadc1, &sConfig) != HAL_OK)
  {
    Error_Handler();
  }
  /** Configure for the selected ADC regular channel its corresponding rank in the sequencer and its sample time.
  */
  sConfig.Channel = ADC_CHANNEL_2;
  sConfig.Rank = 3;
  if (HAL_ADC_ConfigChannel(&hadc1, &sConfig) != HAL_OK)
  {
    Error_Handler();
  }
  /** Configure for the selected ADC regular channel its corresponding rank in the sequencer and its sample time.
  */
  sConfig.Channel = ADC_CHANNEL_3;
  sConfig.Rank = 4;
  if (HAL_ADC_ConfigChannel(&hadc1, &sConfig) != HAL_OK)
  {
    Error_Handler();
  }
  /** Configure for the selected ADC regular channel its corresponding rank in the sequencer and its sample time.
  */
  sConfig.Channel = ADC_CHANNEL_4;
  sConfig.Rank = 5;
  if (HAL_ADC_ConfigChannel(&hadc1, &sConfig) != HAL_OK)
  {
    Error_Handler();
  }

}

static void MX_RTC_Init(void)
{

  /** Initialize RTC Only
  */
  hrtc.Instance = RTC;
  hrtc.Init.HourFormat = RTC_HOURFORMAT_24;
  hrtc.Init.AsynchPrediv = 127;
  hrtc.Init.SynchPrediv = 255;
  hrtc.Init.OutPut = RTC_OUTPUT_DISABLE;
  hrtc.Init.OutPutPolarity = RTC_OUTPUT_POLARITY_HIGH;
  hrtc.Init.OutPutType = RTC_OUTPUT_TYPE_OPENDRAIN;
  if (HAL_RTC_Init(&hrtc) != HAL_OK)
  {
    Error_Handler();
  }
  /** Enable Calibrartion
  */
  if (HAL_RTCEx_SetCalibrationOutPut(&hrtc, RTC_CALIBOUTPUT_1HZ) != HAL_OK)
  {
    Error_Handler();
  }

}

static void MX_TIM4_Init(void)
{

  TIM_MasterConfigTypeDef sMasterConfig = {0};
  TIM_OC_InitTypeDef sConfigOC = {0};

  htim4.Instance = TIM4;
  htim4.Init.Prescaler = 0;
  htim4.Init.CounterMode = TIM_COUNTERMODE_UP;
  htim4.Init.Period = 2099;
  htim4.Init.ClockDivision = TIM_CLOCKDIVISION_DIV1;
  htim4.Init.AutoReloadPreload = TIM_AUTORELOAD_PRELOAD_DISABLE;
  if (HAL_TIM_PWM_Init(&htim4) != HAL_OK)
  {
    Error_Handler();
  }
  sMasterConfig.MasterOutputTrigger = TIM_TRGO_RESET;
  sMasterConfig.MasterSlaveMode = TIM_MASTERSLAVEMODE_DISABLE;
  if (HAL_TIMEx_MasterConfigSynchronization(&htim4, &sMasterConfig) != HAL_OK)
  {
    Error_Handler();
  }
  sConfigOC.OCMode = TIM_OCMODE_PWM1;
  sConfigOC.Pulse = 5000;
  sConfigOC.OCPolarity = TIM_OCPOLARITY_HIGH;
  sConfigOC.OCFastMode = TIM_OCFAST_DISABLE;
  if (HAL_TIM_PWM_ConfigChannel(&htim4, &sConfigOC, TIM_CHANNEL_1) != HAL_OK)
  {
    Error_Handler();
  }
  HAL_TIM_MspPostInit(&htim4);

}

static void MX_TIM9_Init(void)
{

  TIM_ClockConfigTypeDef sClockSourceConfig = {0};

  htim9.Instance = TIM9;
  htim9.Init.Prescaler = 1;
  htim9.Init.CounterMode = TIM_COUNTERMODE_UP;
  htim9.Init.Period = 42041;
  htim9.Init.ClockDivision = TIM_CLOCKDIVISION_DIV1;
  htim9.Init.AutoReloadPreload = TIM_AUTORELOAD_PRELOAD_DISABLE;
  if (HAL_TIM_Base_Init(&htim9) != HAL_OK)
  {
    Error_Handler();
  }
  sClockSourceConfig.ClockSource = TIM_CLOCKSOURCE_INTERNAL;
  if (HAL_TIM_ConfigClockSource(&htim9, &sClockSourceConfig) != HAL_OK)
  {
    Error_Handler();
  }

}

static void MX_TIM13_Init(void)
{

  TIM_OC_InitTypeDef sConfigOC = {0};

  htim13.Instance = TIM13;
  htim13.Init.Prescaler = 0;
  htim13.Init.CounterMode = TIM_COUNTERMODE_UP;
  htim13.Init.Period = 2099;
  htim13.Init.ClockDivision = TIM_CLOCKDIVISION_DIV1;
  htim13.Init.AutoReloadPreload = TIM_AUTORELOAD_PRELOAD_DISABLE;
  if (HAL_TIM_Base_Init(&htim13) != HAL_OK)
  {
    Error_Handler();
  }
  if (HAL_TIM_PWM_Init(&htim13) != HAL_OK)
  {
    Error_Handler();
  }
  sConfigOC.OCMode = TIM_OCMODE_PWM1;
  sConfigOC.Pulse = 0;
  sConfigOC.OCPolarity = TIM_OCPOLARITY_HIGH;
  sConfigOC.OCFastMode = TIM_OCFAST_DISABLE;
  if (HAL_TIM_PWM_ConfigChannel(&htim13, &sConfigOC, TIM_CHANNEL_1) != HAL_OK)
  {
    Error_Handler();
  }

}

static void MX_TIM14_Init(void)
{

  TIM_OC_InitTypeDef sConfigOC = {0};

  htim14.Instance = TIM14;
  htim14.Init.Prescaler = 0;
  htim14.Init.CounterMode = TIM_COUNTERMODE_UP;
  htim14.Init.Period = 16801;
  htim14.Init.ClockDivision = TIM_CLOCKDIVISION_DIV1;
  htim14.Init.AutoReloadPreload = TIM_AUTORELOAD_PRELOAD_DISABLE;
  if (HAL_TIM_Base_Init(&htim14) != HAL_OK)
  {
    Error_Handler();
  }
  if (HAL_TIM_PWM_Init(&htim14) != HAL_OK)
  {
    Error_Handler();
  }
  sConfigOC.OCMode = TIM_OCMODE_PWM1;
  sConfigOC.Pulse = 0;
  sConfigOC.OCPolarity = TIM_OCPOLARITY_HIGH;
  sConfigOC.OCFastMode = TIM_OCFAST_DISABLE;
  if (HAL_TIM_PWM_ConfigChannel(&htim14, &sConfigOC, TIM_CHANNEL_1) != HAL_OK)
  {
    Error_Handler();
  }

}

static void MX_USART1_UART_Init(void)
{

  huart1.Instance = USART1;
  huart1.Init.BaudRate = 115200;
  huart1.Init.WordLength = UART_WORDLENGTH_8B;
  huart1.Init.StopBits = UART_STOPBITS_1;
  huart1.Init.Parity = UART_PARITY_NONE;
  huart1.Init.Mode = UART_MODE_TX_RX;
  huart1.Init.HwFlowCtl = UART_HWCONTROL_NONE;
  huart1.Init.OverSampling = UART_OVERSAMPLING_16;
  if (HAL_UART_Init(&huart1) != HAL_OK)
  {
    Error_Handler();
  }

}

static void MX_USART3_UART_Init(void)
{

  huart3.Instance = USART3;
  huart3.Init.BaudRate = 9600;
  huart3.Init.WordLength = UART_WORDLENGTH_8B;
  huart3.Init.StopBits = UART_STOPBITS_1;
  huart3.Init.Parity = UART_PARITY_NONE;
  huart3.Init.Mode = UART_MODE_TX_RX;
  huart3.Init.HwFlowCtl = UART_HWCONTROL_NONE;
  huart3.Init.OverSampling = UART_OVERSAMPLING_16;
  if (HAL_UART_Init(&huart3) != HAL_OK)
  {
    Error_Handler();
  }

}

static void MX_DMA_Init(void)
{

  /* DMA controller clock enable */
  __HAL_RCC_DMA2_CLK_ENABLE();

  /* DMA interrupt init */
  /* DMA2_Stream0_IRQn interrupt configuration */
  HAL_NVIC_SetPriority(DMA2_Stream0_IRQn, 0, 0);
  HAL_NVIC_EnableIRQ(DMA2_Stream0_IRQn);

}

static void MX_GPIO_Init(void)
{
  GPIO_InitTypeDef GPIO_InitStruct = {0};

  /* GPIO Ports Clock Enable */
  __HAL_RCC_GPIOC_CLK_ENABLE();
  __HAL_RCC_GPIOH_CLK_ENABLE();
  __HAL_RCC_GPIOA_CLK_ENABLE();
  __HAL_RCC_GPIOE_CLK_ENABLE();
  __HAL_RCC_GPIOD_CLK_ENABLE();

  /*Configure GPIO pin Output Level */
  HAL_GPIO_WritePin(GPIOA, GPIO_PIN_5, GPIO_PIN_RESET);

  /*Configure GPIO pin Output Level */
  HAL_GPIO_WritePin(GPIOE, GPIO_PIN_7|GPIO_PIN_8|GPIO_PIN_9|GPIO_PIN_10
                          |GPIO_PIN_11, GPIO_PIN_RESET);

  /*Configure GPIO pin Output Level */
  HAL_GPIO_WritePin(GPIOD, GPIO_PIN_0|GPIO_PIN_1|GPIO_PIN_2|GPIO_PIN_3
                          |GPIO_PIN_4|GPIO_PIN_5|GPIO_PIN_6|GPIO_PIN_7, GPIO_PIN_RESET);

  /*Configure GPIO pin : PA5 */
  GPIO_InitStruct.Pin = GPIO_PIN_5;
  GPIO_InitStruct.Mode = GPIO_MODE_OUTPUT_PP;
  GPIO_InitStruct.Pull = GPIO_NOPULL;
  GPIO_InitStruct.Speed = GPIO_SPEED_FREQ_LOW;
  HAL_GPIO_Init(GPIOA, &GPIO_InitStruct);

  /*Configure GPIO pins : PE7 PE8 PE9 PE10
                           PE11 */
  GPIO_InitStruct.Pin = GPIO_PIN_7|GPIO_PIN_8|GPIO_PIN_9|GPIO_PIN_10
                          |GPIO_PIN_11;
  GPIO_InitStruct.Mode = GPIO_MODE_OUTPUT_PP;
  GPIO_InitStruct.Pull = GPIO_NOPULL;
  GPIO_InitStruct.Speed = GPIO_SPEED_FREQ_LOW;
  HAL_GPIO_Init(GPIOE, &GPIO_InitStruct);

  /*Configure GPIO pins : PC6 PC7 PC8 PC9 */
  GPIO_InitStruct.Pin = GPIO_PIN_6|GPIO_PIN_7|GPIO_PIN_8|GPIO_PIN_9;
  GPIO_InitStruct.Mode = GPIO_MODE_INPUT;
  GPIO_InitStruct.Pull = GPIO_NOPULL;
  HAL_GPIO_Init(GPIOC, &GPIO_InitStruct);

  /*Configure GPIO pins : PD0 PD1 PD2 PD3
                           PD4 PD5 PD6 PD7 */
  GPIO_InitStruct.Pin = GPIO_PIN_0|GPIO_PIN_1|GPIO_PIN_2|GPIO_PIN_3
                          |GPIO_PIN_4|GPIO_PIN_5|GPIO_PIN_6|GPIO_PIN_7;
  GPIO_InitStruct.Mode = GPIO_MODE_OUTPUT_PP;
  GPIO_InitStruct.Pull = GPIO_NOPULL;
  GPIO_InitStruct.Speed = GPIO_SPEED_FREQ_LOW;
  HAL_GPIO_Init(GPIOD, &GPIO_InitStruct);

}

void Error_Handler(void)
{
}

/************************ (C) COPYRIGHT STMicroelectronics *****END OF FILE****/
